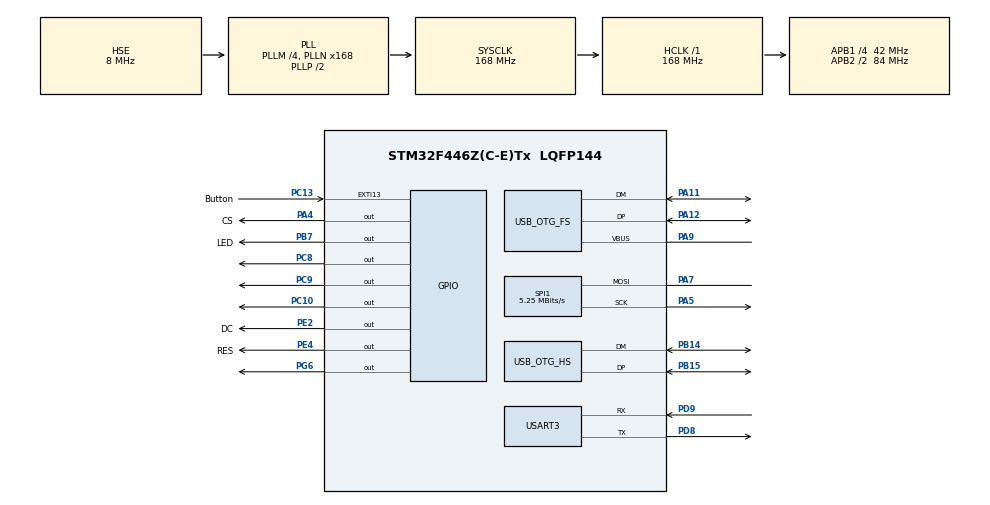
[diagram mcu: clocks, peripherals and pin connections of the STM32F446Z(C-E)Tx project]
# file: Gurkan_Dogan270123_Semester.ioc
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FREERTOS.Tasks01=HostTask,0,1024,HostResponse,Default,NULL,Dynamic,NULL,NULL;DeviceTask,-3,128,DeviceResponse,Default,NULL,Dynamic,NULL,NULL
Mcu.Family=STM32F4
Mcu.Name=STM32F446Z(C-E)Tx
Mcu.Package=LQFP144
NVIC.EXTI15_10_IRQn=true\:5\:0\:false\:false\:true\:true\:true\:true\:true
NVIC.OTG_FS_IRQn=true\:5\:0\:true\:false\:true\:true\:false\:true\:true
NVIC.OTG_HS_IRQn=true\:5\:0\:false\:false\:true\:true\:false\:true\:true
NVIC.PriorityGroup=NVIC_PRIORITYGROUP_4
NVIC.TIM1_UP_TIM10_IRQn=true\:15\:0\:false\:false\:true\:false\:false\:true\:true
NVIC.TimeBase=TIM1_UP_TIM10_IRQn
NVIC.TimeBaseIP=TIM10
NVIC.USART3_IRQn=true\:5\:0\:false\:false\:true\:true\:true\:true\:true
PA11.Mode=Host_Only
PA11.Signal=USB_OTG_FS_DM
PA12.Mode=Host_Only
PA12.Signal=USB_OTG_FS_DP
PA13.Mode=Serial_Wire
PA13.Signal=SYS_JTMS-SWDIO
PA14.Mode=Serial_Wire
PA14.Signal=SYS_JTCK-SWCLK
PA4.GPIO_Label=CS
PA4.Signal=GPIO_Output
PA5.Mode=Simplex_Bidirectional_Master
PA5.Signal=SPI1_SCK
PA7.Mode=Simplex_Bidirectional_Master
PA7.Signal=SPI1_MOSI
PA9.Mode=Activate_VBUS
PA9.Signal=USB_OTG_FS_VBUS
PB14.Mode=Device_Only_FS
PB14.Signal=USB_OTG_HS_DM
PB15.Mode=Device_Only_FS
PB15.Signal=USB_OTG_HS_DP
PB7.GPIO_Label=LED
PB7.Signal=GPIO_Output
PC10.Signal=GPIO_Output
PC13.GPIO_Label=Button
PC13.Signal=GPXTI13
PC8.Signal=GPIO_Output
PC9.Signal=GPIO_Output
PD8.Mode=Asynchronous
PD8.Signal=USART3_TX
PD9.Mode=Asynchronous
PD9.Signal=USART3_RX
PE2.GPIO_Label=DC
PE2.Signal=GPIO_Output
PE4.GPIO_Label=RES
PE4.Signal=GPIO_Output
PG6.Signal=GPIO_Output
PH0-OSC_IN.Mode=HSE-External-Clock-Source
PH0-OSC_IN.Signal=RCC_OSC_IN
PH1-OSC_OUT.Mode=HSE-External-Clock-Source
PH1-OSC_OUT.Signal=RCC_OSC_OUT
ProjectManager.HeapSize=0x20000
ProjectManager.StackSize=0x10000
ProjectManager.TargetToolchain=STM32CubeIDE
RCC.48MHZClocksFreq_Value=24000000
RCC.AHBFreq_Value=168000000
RCC.APB1CLKDivider=RCC_HCLK_DIV4
RCC.APB1Freq_Value=42000000
RCC.APB1TimFreq_Value=84000000
RCC.APB2CLKDivider=RCC_HCLK_DIV2
RCC.APB2Freq_Value=84000000
RCC.APB2TimFreq_Value=168000000
RCC.CortexFreq_Value=168000000
RCC.HCLKFreq_Value=168000000
RCC.HSE_VALUE=8000000
RCC.HSI_VALUE=16000000
RCC.PLLM=4
RCC.PLLMUL=RCC_PLL_MUL9
RCC.PLLN=168
RCC.PLLQ=7
RCC.PLLSourceVirtual=RCC_PLLSOURCE_HSE
RCC.PRESCALERUSB=RCC_USBCLKSOURCE_PLL_DIV1_5
RCC.SYSCLKFreq_VALUE=168000000
RCC.SYSCLKSource=RCC_SYSCLKSOURCE_PLLCLK
RCC.SYSCLKSourceVirtual=RCC_SYSCLKSOURCE_PLLCLK
RCC.USBFreq_Value=48000000
RCC.VCOOutputFreq_Value=336000000
SPI1.BaudRatePrescaler=SPI_BAUDRATEPRESCALER_16
SPI1.CalculateBaudRate=5.25 MBits/s
SPI1.DataSize=SPI_DATASIZE_8BIT
SPI1.Direction=SPI_DIRECTION_1LINE
SPI1.Mode=SPI_MODE_MASTER
SPI1.VirtualType=VM_MASTER
USART3.VirtualMode=VM_ASYNC
USB_DEVICE.CLASS_NAME_HS=HID
USB_DEVICE.VirtualMode-HID_HS=Hid
USB_DEVICE.VirtualModeHS=Hid_HS
USB_HOST.BSP.number=1
USB_HOST.USBH_HandleTypeDef-HID_FS=hUsbHostFS
USB_HOST.USBH_USE_OS-HID_FS=0
USB_HOST.VirtualModeFS=Hid
USB_HOST0.BSP.STBoard=false
USB_HOST0.BSP.api=Unknown
USB_HOST0.BSP.instance=PG6
USB_HOST0.BSP.ip=GPIO
USB_HOST0.BSP.mode=Output
USB_HOST0.BSP.name=Drive_VBUS_FS
USB_HOST0.BSP.solution=PG6
USB_OTG_FS.VirtualMode=Host_Only
USB_OTG_FS.phy_itface=HCD_PHY_EMBEDDED
USB_OTG_HS.VirtualMode-Device_Only_FS=Device_Only_FS
VP_FREERTOS_VS_CMSIS_V1.Mode=CMSIS_V1
VP_SYS_VS_tim10.Mode=TIM10
VP_USB_DEVICE_VS_USB_DEVICE_HID_HS.Mode=HID_HS
VP_USB_HOST_VS_USB_HOST_HID_FS.Mode=HID_FS
board=NUCLEO-F446ZE

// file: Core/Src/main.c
/* USER CODE BEGIN Header */
/**
  ******************************************************************************
  * @file           : main.c
  * @brief          : Main program body
  ******************************************************************************
  * @attention
  *
  * Copyright (c) 2023 STMicroelectronics.
  * All rights reserved.
  *
  * This software is licensed under terms that can be found in the LICENSE file
  * in the root directory of this software component.
  * If no LICENSE file comes with this software, it is provided AS-IS.
  *
  ******************************************************************************
  */
/* USER CODE END Header */
#include "main.h"
#include "cmsis_os.h"
#include "usb_device.h"
#include "usb_host.h"

/* USER CODE BEGIN Includes */
#include "usbh_hid.h"
#include "usbd_hid.h"
#include "stdlib.h"
#include "Keyboard_HID.h"
#include "string.h"
#include "ST7735.h"
#include "GFX_FUNCTIONS.h"
/* USER CODE END Includes */

SPI_HandleTypeDef hspi1;

UART_HandleTypeDef huart3;

osThreadId HostTaskHandle;
osThreadId DeviceTaskHandle;
/* USER CODE BEGIN PV */
QueueHandle_t HostToDevice;
QueueHandle_t HostToHost;
SemaphoreHandle_t SendBufferMutex;

//static int32_t uart_length = 0;
uint8_t uart_tx_buffer[100];
uint8_t uart_d_tx_buffer[100];
uint8_t keycode;

uint8_t observe_key=0;
static volatile uint8_t flag=0;

/* USER CODE END PV */

void SystemClock_Config(void);
static void MX_GPIO_Init(void);
static void MX_USART3_UART_Init(void);
static void MX_SPI1_Init(void);
void HostResponse(void const * argument);
void DeviceResponse(void const * argument);

/* USER CODE BEGIN 0 */
char Initialword[]="All informations:";

/* USER CODE END 0 */

int main(void)
{

  /* MCU Configuration--------------------------------------------------------*/

  /* Reset of all peripherals, Initializes the Flash interface and the Systick. */
  HAL_Init();

  /* Configure the system clock */
  SystemClock_Config();

  /* Initialize all configured peripherals */
  MX_GPIO_Init();
  MX_USART3_UART_Init();
  MX_SPI1_Init();
  /* USER CODE BEGIN 2 */
  ST7735_Init(0);
  fillScreen(BLACK);

//  fillScreen(BLACK);
// ST7735_SetRotation(1);
//  ST7735_WriteString(0, 1, Initialword, Font_7x10, BLUE,BLACK);
//  drawFastHLine(0, 11, 160, WHITE);
  /* USER CODE END 2 */

  /* USER CODE BEGIN RTOS_MUTEX */
  SendBufferMutex = xSemaphoreCreateMutex();
  /* USER CODE END RTOS_MUTEX */

  /* USER CODE BEGIN RTOS_QUEUES */
  /* add queues, ... */
  HostToDevice = xQueueCreate(10, sizeof(char));
   if(HostToDevice==NULL){
 	  //Queue error;
   }
   HostToHost = xQueueCreate(10, sizeof(char));
     if(HostToHost==NULL){
   	  //Queue error;
     }
  /* USER CODE END RTOS_QUEUES */

  /* Create the thread(s) */
  /* definition and creation of HostTask */
  osThreadDef(HostTask, HostResponse, osPriorityNormal, 0, 1024);
  HostTaskHandle = osThreadCreate(osThread(HostTask), NULL);

  /* definition and creation of DeviceTask */
  osThreadDef(DeviceTask, DeviceResponse, osPriorityIdle, 0, 128);
  DeviceTaskHandle = osThreadCreate(osThread(DeviceTask), NULL);

  /* Start scheduler */
  osKernelStart();

  /* We should never get here as control is now taken by the scheduler */
  /* Infinite loop */
  while (1)
  {

  }
}

void SystemClock_Config(void)
{
  RCC_OscInitTypeDef RCC_OscInitStruct = {0};
  RCC_ClkInitTypeDef RCC_ClkInitStruct = {0};

  /** Configure the main internal regulator output voltage
  */
  __HAL_RCC_PWR_CLK_ENABLE();
  __HAL_PWR_VOLTAGESCALING_CONFIG(PWR_REGULATOR_VOLTAGE_SCALE1);

  /** Initializes the RCC Oscillators according to the specified parameters
  * in the RCC_OscInitTypeDef structure.
  */
  RCC_OscInitStruct.OscillatorType = RCC_OSCILLATORTYPE_HSE;
  RCC_OscInitStruct.HSEState = RCC_HSE_BYPASS;
  RCC_OscInitStruct.PLL.PLLState = RCC_PLL_ON;
  RCC_OscInitStruct.PLL.PLLSource = RCC_PLLSOURCE_HSE;
  RCC_OscInitStruct.PLL.PLLM = 4;
  RCC_OscInitStruct.PLL.PLLN = 168;
  RCC_OscInitStruct.PLL.PLLP = RCC_PLLP_DIV2;
  RCC_OscInitStruct.PLL.PLLQ = 7;
  RCC_OscInitStruct.PLL.PLLR = 2;
  if (HAL_RCC_OscConfig(&RCC_OscInitStruct) != HAL_OK)
  {
    Error_Handler();
  }

  /** Initializes the CPU, AHB and APB buses clocks
  */
  RCC_ClkInitStruct.ClockType = RCC_CLOCKTYPE_HCLK|RCC_CLOCKTYPE_SYSCLK
                              |RCC_CLOCKTYPE_PCLK1|RCC_CLOCKTYPE_PCLK2;
  RCC_ClkInitStruct.SYSCLKSource = RCC_SYSCLKSOURCE_PLLCLK;
  RCC_ClkInitStruct.AHBCLKDivider = RCC_SYSCLK_DIV1;
  RCC_ClkInitStruct.APB1CLKDivider = RCC_HCLK_DIV4;
  RCC_ClkInitStruct.APB2CLKDivider = RCC_HCLK_DIV2;

  if (HAL_RCC_ClockConfig(&RCC_ClkInitStruct, FLASH_LATENCY_5) != HAL_OK)
  {
    Error_Handler();
  }
}

static void MX_SPI1_Init(void)
{

  /* SPI1 parameter configuration*/
  hspi1.Instance = SPI1;
  hspi1.Init.Mode = SPI_MODE_MASTER;
  hspi1.Init.Direction = SPI_DIRECTION_1LINE;
  hspi1.Init.DataSize = SPI_DATASIZE_8BIT;
  hspi1.Init.CLKPolarity = SPI_POLARITY_LOW;
  hspi1.Init.CLKPhase = SPI_PHASE_1EDGE;
  hspi1.Init.NSS = SPI_NSS_SOFT;
  hspi1.Init.BaudRatePrescaler = SPI_BAUDRATEPRESCALER_16;
  hspi1.Init.FirstBit = SPI_FIRSTBIT_MSB;
  hspi1.Init.TIMode = SPI_TIMODE_DISABLE;
  hspi1.Init.CRCCalculation = SPI_CRCCALCULATION_DISABLE;
  hspi1.Init.CRCPolynomial = 10;
  if (HAL_SPI_Init(&hspi1) != HAL_OK)
  {
    Error_Handler();
  }

}

static void MX_USART3_UART_Init(void)
{

  huart3.Instance = USART3;
  huart3.Init.BaudRate = 115200;
  huart3.Init.WordLength = UART_WORDLENGTH_8B;
  huart3.Init.StopBits = UART_STOPBITS_1;
  huart3.Init.Parity = UART_PARITY_NONE;
  huart3.Init.Mode = UART_MODE_TX_RX;
  huart3.Init.HwFlowCtl = UART_HWCONTROL_NONE;
  huart3.Init.OverSampling = UART_OVERSAMPLING_16;
  if (HAL_UART_Init(&huart3) != HAL_OK)
  {
    Error_Handler();
  }

}

static void MX_GPIO_Init(void)
{
  GPIO_InitTypeDef GPIO_InitStruct = {0};

  /* GPIO Ports Clock Enable */
  __HAL_RCC_GPIOE_CLK_ENABLE();
  __HAL_RCC_GPIOC_CLK_ENABLE();
  __HAL_RCC_GPIOH_CLK_ENABLE();
  __HAL_RCC_GPIOA_CLK_ENABLE();
  __HAL_RCC_GPIOB_CLK_ENABLE();
  __HAL_RCC_GPIOD_CLK_ENABLE();
  __HAL_RCC_GPIOG_CLK_ENABLE();

  /*Configure GPIO pin Output Level */
  HAL_GPIO_WritePin(GPIOE, DC_Pin|RES_Pin, GPIO_PIN_RESET);

  /*Configure GPIO pin Output Level */
  HAL_GPIO_WritePin(CS_GPIO_Port, CS_Pin, GPIO_PIN_RESET);

  /*Configure GPIO pin Output Level */
  HAL_GPIO_WritePin(GPIOG, GPIO_PIN_6, GPIO_PIN_RESET);

  /*Configure GPIO pin Output Level */
  HAL_GPIO_WritePin(GPIOC, GPIO_PIN_8|GPIO_PIN_9|GPIO_PIN_10, GPIO_PIN_RESET);

  /*Configure GPIO pin Output Level */
  HAL_GPIO_WritePin(LED_GPIO_Port, LED_Pin, GPIO_PIN_RESET);

  /*Configure GPIO pins : DC_Pin RES_Pin */
  GPIO_InitStruct.Pin = DC_Pin|RES_Pin;
  GPIO_InitStruct.Mode = GPIO_MODE_OUTPUT_PP;
  GPIO_InitStruct.Pull = GPIO_NOPULL;
  GPIO_InitStruct.Speed = GPIO_SPEED_FREQ_LOW;
  HAL_GPIO_Init(GPIOE, &GPIO_InitStruct);

  /*Configure GPIO pin : Button_Pin */
  GPIO_InitStruct.Pin = Button_Pin;
  GPIO_InitStruct.Mode = GPIO_MODE_IT_RISING;
  GPIO_InitStruct.Pull = GPIO_NOPULL;
  HAL_GPIO_Init(Button_GPIO_Port, &GPIO_InitStruct);

  /*Configure GPIO pin : CS_Pin */
  GPIO_InitStruct.Pin = CS_Pin;
  GPIO_InitStruct.Mode = GPIO_MODE_OUTPUT_PP;
  GPIO_InitStruct.Pull = GPIO_NOPULL;
  GPIO_InitStruct.Speed = GPIO_SPEED_FREQ_LOW;
  HAL_GPIO_Init(CS_GPIO_Port, &GPIO_InitStruct);

  /*Configure GPIO pin : PG6 */
  GPIO_InitStruct.Pin = GPIO_PIN_6;
  GPIO_InitStruct.Mode = GPIO_MODE_OUTPUT_PP;
  GPIO_InitStruct.Pull = GPIO_NOPULL;
  GPIO_InitStruct.Speed = GPIO_SPEED_FREQ_LOW;
  HAL_GPIO_Init(GPIOG, &GPIO_InitStruct);

  /*Configure GPIO pins : PC8 PC9 PC10 */
  GPIO_InitStruct.Pin = GPIO_PIN_8|GPIO_PIN_9|GPIO_PIN_10;
  GPIO_InitStruct.Mode = GPIO_MODE_OUTPUT_PP;
  GPIO_InitStruct.Pull = GPIO_NOPULL;
  GPIO_InitStruct.Speed = GPIO_SPEED_FREQ_LOW;
  HAL_GPIO_Init(GPIOC, &GPIO_InitStruct);

  /*Configure GPIO pin : LED_Pin */
  GPIO_InitStruct.Pin = LED_Pin;
  GPIO_InitStruct.Mode = GPIO_MODE_OUTPUT_PP;
  GPIO_InitStruct.Pull = GPIO_NOPULL;
  GPIO_InitStruct.Speed = GPIO_SPEED_FREQ_LOW;
  HAL_GPIO_Init(LED_GPIO_Port, &GPIO_InitStruct);

  /* EXTI interrupt init*/
  HAL_NVIC_SetPriority(EXTI15_10_IRQn, 5, 0);
  HAL_NVIC_EnableIRQ(EXTI15_10_IRQn);

}

/* USER CODE BEGIN 4 */
void  USBH_HID_EventCallback(USBH_HandleTypeDef *phost)
{
	HID_KEYBD_Info_TypeDef *keybd_info;
	HID_HandleTypeDef *HID_Handle =
			(HID_HandleTypeDef *) phost->pActiveClass->pData;
	 BaseType_t xHigherPriorityTaskWoken = pdFALSE;

	if (HID_Handle->Init == USBH_HID_KeybdInit) {

		keybd_info = USBH_HID_GetKeybdInfo(phost);

		keycode = USBH_HID_GetASCIICode(keybd_info);
		if (keycode != 0){ // Default NULL
		xQueueSendFromISR(HostToHost,&keycode,&xHigherPriorityTaskWoken);
		xQueueSendFromISR(HostToDevice,&keycode,&xHigherPriorityTaskWoken);
		}

	}
}
/* USER CODE END 4 */

void HostResponse(void const * argument)
{
  /* init code for USB_HOST */
  MX_USB_HOST_Init();
  /* init code for USB_DEVICE */

  /* USER CODE BEGIN 5 */
  char Keycode;
  char starter[]="All datas are below:";
	  ST7735_SetRotation(1);
	  ST7735_WriteString(0, 1, starter, Font_7x10, BLUE, BLACK);
	  drawFastHLine(0, 11, 160, BLUE);
  uint8_t row=13,column=0;
  char* string = NULL;
  /* Infinite loop */
  for(;;)
  {

	  osDelay(10);
	     if (xQueueReceive(HostToHost, &Keycode, portMAX_DELAY) == pdPASS)
	 		{
	     			if(column <=180 && row<=100){
	     			if(Keycode != '\n'){

	     			string=(char*)malloc(sizeof(char));

	     			if(string== NULL){
	     				Error_Handler();
	     			}
	     			string[0]=Keycode;
	     			ST7735_WriteString(column, row, string, Font_7x10, BLUE, BLACK);
	     			column =column+7;
	     			free(string);
	     			}

	     			else if(Keycode == '\n'){
	     				row=row+10;
	     				column=0;
	     			}
	     			else{

	     				ST7735_WriteString(0, row, "Undefined Character!", Font_7x10, RED, BLACK);
	     				column=0;
	     				row=row+10;
	     			}
	     			}
else{
	column=0;
	row=13;
	fillScreen(BLACK);
	ST7735_WriteString(0, 1, starter, Font_7x10, BLUE, BLACK);
	 drawFastHLine(0, 11, 160, BLUE);

}

		}

  }

  /* USER CODE END 5 */
}

void DeviceResponse(void const * argument)
{
  /* USER CODE BEGIN DeviceResponse */

	MX_USB_DEVICE_Init();

	  char Barcode_Data;
//	uint8_t* devicebuffer=NULL;

  for(;;)
  {
    osDelay(1);

    if (xQueueReceive(HostToDevice, &Barcode_Data, portMAX_DELAY) == pdPASS)
   	 		{
    		USB_Keyboard_SendString(&Barcode_Data);

   	 		}

  }

  /* USER CODE END DeviceResponse */
}

void HAL_TIM_PeriodElapsedCallback(TIM_HandleTypeDef *htim)
{
  if (htim->Instance == TIM10) {
    HAL_IncTick();
  }
}

void Error_Handler(void)
{
  __disable_irq();
  while (1)
  {
  }
}
